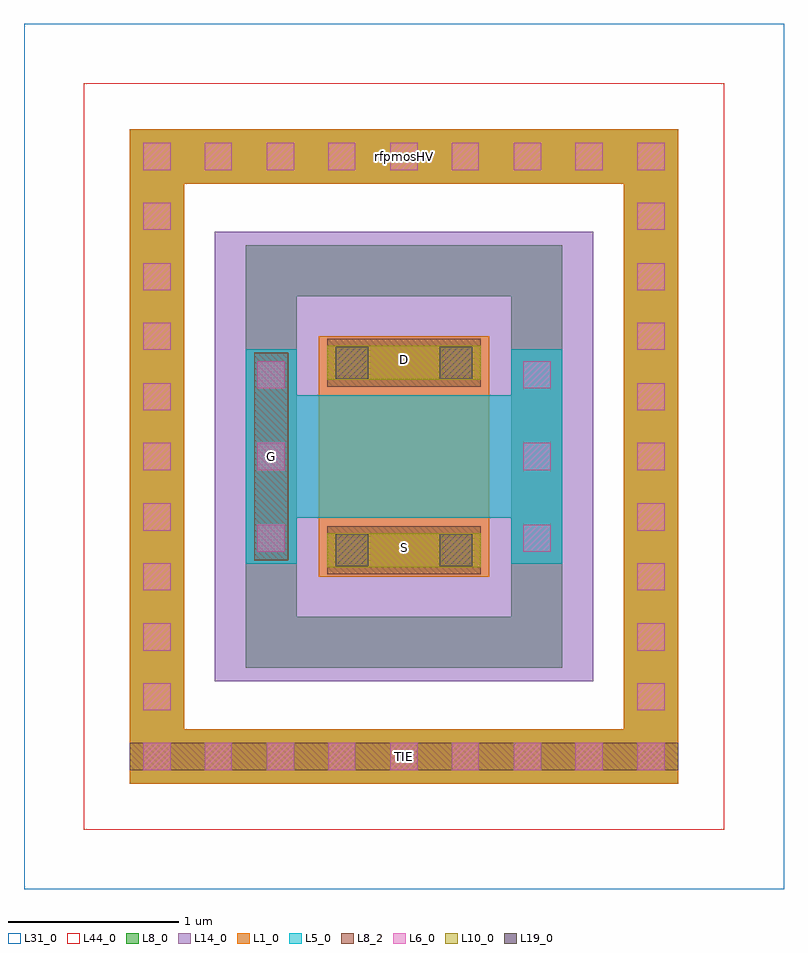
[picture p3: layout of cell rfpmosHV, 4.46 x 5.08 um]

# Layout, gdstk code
import gdstk
lib = gdstk.Library(unit=1e-6, precision=1e-09)
def R(c, l, rs):  # rectangles x0, y0, x1, y1
    for r in rs: c.add(gdstk.rectangle(r[:2], r[2:], *l))
def P(c, l, *ps):  # polygons
    for p in ps: c.add(gdstk.Polygon(p, *l))
L1_0 = (1, 0)
L5_0 = (5, 0)
L6_0 = (6, 0)
L8_0 = (8, 0)
L8_2 = (8, 2)
L10_0 = (10, 0)
L14_0 = (14, 0)
L19_0 = (19, 0)
L31_0 = (31, 0)
L44_0 = (44, 0)

rfpmoshv = lib.new_cell('rfpmosHV')
R(rfpmoshv, L1_0, [(1.73,1.835,2.73,3.245), (1.73,1.835,2.73,3.245)])
P(rfpmoshv, L1_0, [(0.62,0.62),(0.62,4.46),(3.52,4.46),(3.52,4.14),(0.94,4.14),(0.94,0.94),(3.52,0.94),(3.52,4.46),(3.84,4.46),(3.84,0.62)],
  [(0.62,0.62),(0.62,4.46),(3.52,4.46),(3.52,4.14),(0.94,4.14),(0.94,0.94),(3.52,0.94),(3.52,4.46),(3.84,4.46),(3.84,0.62)])
P(rfpmoshv, L5_0, [(1.3,1.91),(1.3,3.17),(1.6,3.17),(1.6,2.9),(2.86,2.9),(2.86,3.17),(3.16,3.17),(3.16,1.91),(2.86,1.91),(2.86,2.18),(1.6,2.18),(1.6,1.91)],
  [(1.3,1.91),(1.3,3.17),(1.6,3.17),(1.6,2.9),(2.86,2.9),(2.86,3.17),(3.16,3.17),(3.16,1.91),(2.86,1.91),(2.86,2.18),(1.6,2.18),(1.6,1.91)])
R(rfpmoshv, L6_0, [(0.7,0.7,0.86,0.86), (0.7,0.7,0.86,0.86), (1.06,0.7,1.22,0.86), (1.06,0.7,1.22,0.86), (1.425,0.7,1.585,0.86), (1.425,0.7,1.585,0.86), (1.785,0.7,1.945,0.86), (1.785,0.7,1.945,0.86), (2.15,0.7,2.31,0.86), (2.15,0.7,2.31,0.86), (2.51,0.7,2.67,0.86), (2.51,0.7,2.67,0.86), (2.875,0.7,3.035,0.86), (2.875,0.7,3.035,0.86), (3.235,0.7,3.395,0.86), (3.235,0.7,3.395,0.86), (3.6,0.7,3.76,0.86), (3.6,0.7,3.76,0.86), (0.7,1.05,0.86,1.21), (0.7,1.05,0.86,1.21), (3.6,1.05,3.76,1.21), (3.6,1.05,3.76,1.21), (0.7,1.4,0.86,1.56), (0.7,1.4,0.86,1.56), (3.6,1.4,3.76,1.56), (3.6,1.4,3.76,1.56), (0.7,1.755,0.86,1.915), (0.7,1.755,0.86,1.915), (3.6,1.755,3.76,1.915), (3.6,1.755,3.76,1.915), (1.83,1.91,1.99,2.07), (1.83,1.91,1.99,2.07), (2.47,1.91,2.63,2.07), (2.47,1.91,2.63,2.07), (1.37,1.98,1.53,2.14), (1.37,1.98,1.53,2.14), (2.93,1.98,3.09,2.14), (2.93,1.98,3.09,2.14), (0.7,2.105,0.86,2.265), (0.7,2.105,0.86,2.265), (3.6,2.105,3.76,2.265), (3.6,2.105,3.76,2.265), (0.7,2.46,0.86,2.62), (0.7,2.46,0.86,2.62), (1.37,2.46,1.53,2.62), (1.37,2.46,1.53,2.62), (2.93,2.46,3.09,2.62), (2.93,2.46,3.09,2.62), (3.6,2.46,3.76,2.62), (3.6,2.46,3.76,2.62), (0.7,2.81,0.86,2.97), (0.7,2.81,0.86,2.97), (3.6,2.81,3.76,2.97), (3.6,2.81,3.76,2.97), (1.37,2.94,1.53,3.1), (1.37,2.94,1.53,3.1), (2.93,2.94,3.09,3.1), (2.93,2.94,3.09,3.1), (1.83,3.01,1.99,3.17), (1.83,3.01,1.99,3.17), (2.47,3.01,2.63,3.17), (2.47,3.01,2.63,3.17), (0.7,3.165,0.86,3.325), (0.7,3.165,0.86,3.325), (3.6,3.165,3.76,3.325), (3.6,3.165,3.76,3.325), (0.7,3.515,0.86,3.675), (0.7,3.515,0.86,3.675), (3.6,3.515,3.76,3.675), (3.6,3.515,3.76,3.675), (0.7,3.87,0.86,4.03), (0.7,3.87,0.86,4.03), (3.6,3.87,3.76,4.03), (3.6,3.87,3.76,4.03), (0.7,4.22,0.86,4.38), (0.7,4.22,0.86,4.38), (1.06,4.22,1.22,4.38), (1.06,4.22,1.22,4.38), (1.425,4.22,1.585,4.38), (1.425,4.22,1.585,4.38), (1.785,4.22,1.945,4.38), (1.785,4.22,1.945,4.38), (2.15,4.22,2.31,4.38), (2.15,4.22,2.31,4.38), (2.51,4.22,2.67,4.38), (2.51,4.22,2.67,4.38), (2.875,4.22,3.035,4.38), (2.875,4.22,3.035,4.38), (3.235,4.22,3.395,4.38), (3.235,4.22,3.395,4.38), (3.6,4.22,3.76,4.38), (3.6,4.22,3.76,4.38)])
R(rfpmoshv, L8_0, [(1.78,1.85,2.68,2.13), (1.78,1.85,2.68,2.13), (1.35,1.93,1.55,3.15), (1.35,1.93,1.55,3.15), (2.91,1.93,3.11,3.15), (2.91,1.93,3.11,3.15), (1.78,2.95,2.68,3.23), (1.78,2.95,2.68,3.23)])
P(rfpmoshv, L8_0, [(0.62,0.62),(0.62,4.46),(3.52,4.46),(3.52,4.14),(0.94,4.14),(0.94,0.94),(3.52,0.94),(3.52,4.46),(3.84,4.46),(3.84,0.62)],
  [(1.3,1.3),(1.3,3.78),(2.86,3.78),(2.86,3.48),(1.6,3.48),(1.6,1.6),(2.86,1.6),(2.86,3.78),(3.16,3.78),(3.16,1.3)],
  [(0.62,0.62),(0.62,4.46),(3.52,4.46),(3.52,4.14),(0.94,4.14),(0.94,0.94),(3.52,0.94),(3.52,4.46),(3.84,4.46),(3.84,0.62)],
  [(1.3,1.3),(1.3,3.78),(2.86,3.78),(2.86,3.48),(1.6,3.48),(1.6,1.6),(2.86,1.6),(2.86,3.78),(3.16,3.78),(3.16,1.3)])
R(rfpmoshv, L8_2, [(0.62,0.7,3.84,0.86), (0.62,0.7,3.84,0.86), (1.78,1.85,2.68,2.13), (1.78,1.85,2.68,2.13), (1.35,1.93,1.55,3.15), (1.35,1.93,1.55,3.15), (1.78,2.95,2.68,3.23), (1.78,2.95,2.68,3.23)])
R(rfpmoshv, L10_0, [(1.78,1.89,2.68,2.09), (1.78,1.89,2.68,2.09), (1.78,2.99,2.68,3.19), (1.78,2.99,2.68,3.19)])
R(rfpmoshv, L14_0, [(1.12,1.22,3.34,3.86), (1.12,1.22,3.34,3.86)])
R(rfpmoshv, L19_0, [(1.83,1.895,2.02,2.085), (1.83,1.895,2.02,2.085), (2.44,1.895,2.63,2.085), (2.44,1.895,2.63,2.085), (1.83,2.995,2.02,3.185), (1.83,2.995,2.02,3.185), (2.44,2.995,2.63,3.185), (2.44,2.995,2.63,3.185)])
R(rfpmoshv, L31_0, [(0,0,4.46,5.08), (0,0,4.46,5.08)])
R(rfpmoshv, L44_0, [(0.35,0.35,4.11,4.73), (0.35,0.35,4.11,4.73)])
rfpmoshv.add(gdstk.Label('TIE', (2.23,0.78), layer=63, texttype=0))
rfpmoshv.add(gdstk.Label('rfpmosHV', (2.23,4.3), layer=63, texttype=0))
rfpmoshv.add(gdstk.Label('G', (1.45,2.54), layer=63, texttype=0))
rfpmoshv.add(gdstk.Label('D', (2.23,3.108), layer=63, texttype=0))
rfpmoshv.add(gdstk.Label('S', (2.23,2.008), layer=63, texttype=0))
rfpmoshv.add(gdstk.Label('TIE', (2.23,0.78), layer=63, texttype=0))
rfpmoshv.add(gdstk.Label('rfpmosHV', (2.23,4.3), layer=63, texttype=0))
rfpmoshv.add(gdstk.Label('G', (1.45,2.54), layer=63, texttype=0))
rfpmoshv.add(gdstk.Label('D', (2.23,3.108), layer=63, texttype=0))
rfpmoshv.add(gdstk.Label('S', (2.23,2.008), layer=63, texttype=0))

lib.write_gds('rfpmosHV.gds')
